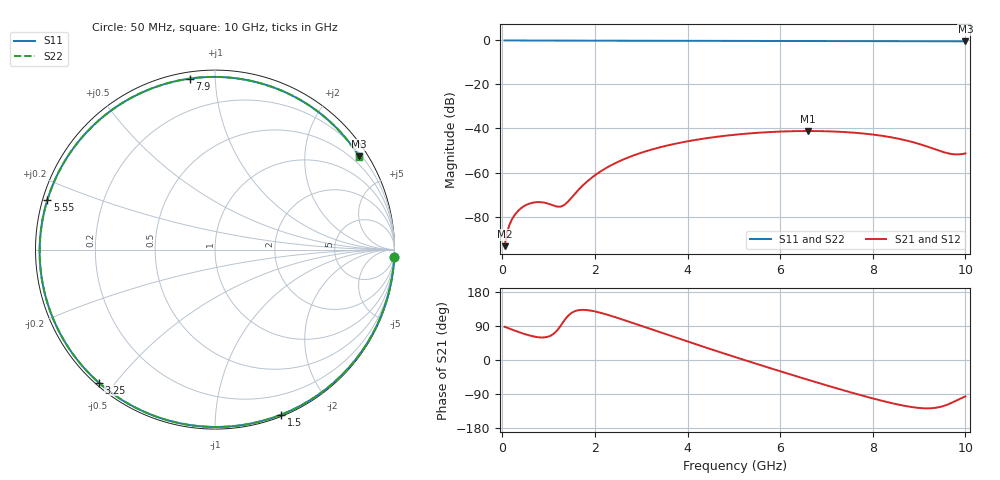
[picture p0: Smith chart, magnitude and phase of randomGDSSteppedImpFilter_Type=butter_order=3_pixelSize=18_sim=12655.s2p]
! freq	dB(S11)	phase(S11)	dB(S12)	phase(S12)
!  dB(S21)	phase(S21)	dB(S22)	phase(S22)
!S-par simulation data
#  GHz  S  DB  R 50
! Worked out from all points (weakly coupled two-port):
!   200 points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, 50 MHz to 10 GHz, reference 50 ohm
!   highest |S21| = -41.14 dB at 6.6 GHz (marker M1); lowest = -93.5 dB at 50 MHz (marker M2)
!   lowest |S11| = -0.4 dB at 10 GHz (marker M3), VSWR 44.40, Z = 14 + j168 ohm
!   |S11| at or under -10 dB: nowhere
!   |S22| runs from -0.4 to 0.0 dB; largest |S21 - S12| = 0
!   S11 on the Smith chart (normalised r, x): 50 MHz: 0, -48; 1.5 GHz: 0.01, -1.48; 3.25 GHz: 0.01, -0.45; 5.55 GHz: 0.01, +0.14; 7.9 GHz: 0.03, +0.86; 10 GHz: 0.28, +3.37
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0.05  -0.00 -2.4  -93.47 87.6  -93.47 87.6  -0.00 -2.4
0.25  -0.02 -11.9  -79.83 78.4  -79.83 78.4  -0.02 -11.9
0.45  -0.03 -21.4  -75.55 69.8  -75.55 69.8  -0.03 -21.4
0.7  -0.04 -33.0  -73.55 61.5  -73.55 61.5  -0.04 -33.0
1.25  -0.07 -57.5  -75.52 88.7  -75.52 88.7  -0.07 -57.5
1.5  -0.08 -68.1  -71.31 124.6  -71.31 124.6  -0.08 -68.1
1.75  -0.09 -78.2  -65.65 132.3  -65.65 132.3  -0.09 -78.2
2.05  -0.10 -89.9  -60.52 126.8  -60.52 126.8  -0.10 -89.9
2.4  -0.11 -102.7  -56.16 114.6  -56.16 114.6  -0.11 -102.7
3.25  -0.14 -131.2  -49.42 79.7  -49.42 79.7  -0.14 -131.2
3.4  -0.14 -135.9  -48.57 73.4  -48.57 73.4  -0.14 -135.9
4.2  -0.17 -159.5  -45.09 40.6  -45.09 40.6  -0.17 -159.5
5.05  -0.21 177.0  -42.77 6.9  -42.77 6.9  -0.21 177.0
5.55  -0.23 163.6  -41.90 -12.5  -41.90 -12.5  -0.23 163.6
6.6  -0.28 135.2  -41.14 -52.2  -41.14 -52.2  -0.28 135.2
6.7  -0.28 132.5  -41.15 -55.9  -41.15 -55.9  -0.28 132.4
7.3  -0.31 115.7  -41.51 -77.6  -41.51 -77.6  -0.31 115.7
7.9  -0.33 98.4  -42.51 -98.1  -42.51 -98.1  -0.33 98.3
8.35  -0.34 85.0  -43.83 -112.1  -43.83 -112.1  -0.34 84.9
9.15  -0.36 60.2  -48.03 -127.6  -48.03 -127.6  -0.36 60.1
9.65  -0.37 44.2  -51.39 -115.9  -51.39 -115.9  -0.37 44.2
10  -0.39 32.9  -51.35 -95.9  -51.35 -95.9  -0.39 32.8
